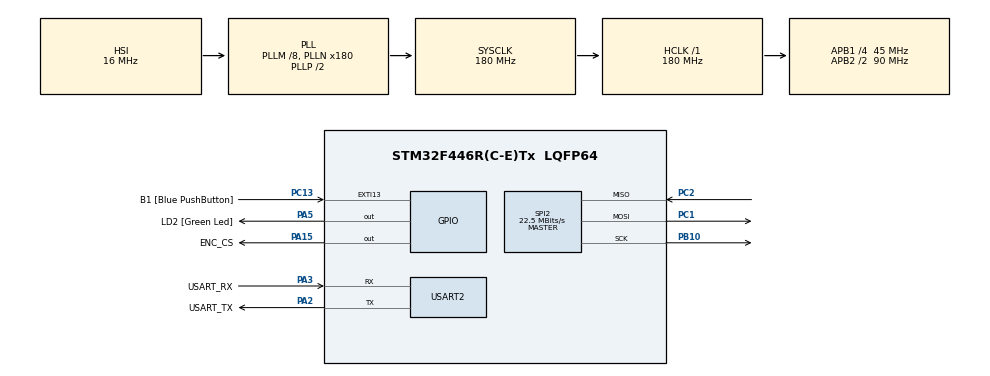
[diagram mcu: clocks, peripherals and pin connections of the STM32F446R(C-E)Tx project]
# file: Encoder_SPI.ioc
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Mcu.Family=STM32F4
Mcu.Name=STM32F446R(C-E)Tx
Mcu.Package=LQFP64
NVIC.PriorityGroup=NVIC_PRIORITYGROUP_0
PA13.GPIO_Label=TMS
PA13.Mode=Serial_Wire
PA13.Signal=SYS_JTMS-SWDIO
PA14.GPIO_Label=TCK
PA14.Mode=Serial_Wire
PA14.Signal=SYS_JTCK-SWCLK
PA15.GPIO_Label=ENC_CS
PA15.Signal=GPIO_Output
PA2.GPIO_Label=USART_TX
PA2.Mode=Asynchronous
PA2.Signal=USART2_TX
PA3.GPIO_Label=USART_RX
PA3.Mode=Asynchronous
PA3.Signal=USART2_RX
PA5.GPIO_Label=LD2 [Green Led]
PA5.Signal=GPIO_Output
PB10.Mode=Full_Duplex_Master
PB10.Signal=SPI2_SCK
PB3.GPIO_Label=SWO
PB3.Signal=SYS_JTDO-SWO
PC1.Mode=Full_Duplex_Master
PC1.Signal=SPI2_MOSI
PC13.GPIO_Label=B1 [Blue PushButton]
PC13.GPIO_ModeDefaultEXTI=GPIO_MODE_IT_FALLING
PC13.Signal=GPXTI13
PC14-OSC32_IN.Mode=LSE-External-Oscillator
PC14-OSC32_IN.Signal=RCC_OSC32_IN
PC15-OSC32_OUT.Mode=LSE-External-Oscillator
PC15-OSC32_OUT.Signal=RCC_OSC32_OUT
PC2.Mode=Full_Duplex_Master
PC2.Signal=SPI2_MISO
PH0-OSC_IN.Mode=HSE-External-Oscillator
PH0-OSC_IN.Signal=RCC_OSC_IN
PH1-OSC_OUT.Mode=HSE-External-Oscillator
PH1-OSC_OUT.Signal=RCC_OSC_OUT
ProjectManager.HeapSize=0x200
ProjectManager.StackSize=0x400
ProjectManager.TargetToolchain=CMake
RCC.48MHZClocksFreq_Value=84000000
RCC.AHBFreq_Value=180000000
RCC.APB1CLKDivider=RCC_HCLK_DIV4
RCC.APB1Freq_Value=45000000
RCC.APB1TimFreq_Value=90000000
RCC.APB2CLKDivider=RCC_HCLK_DIV2
RCC.APB2Freq_Value=90000000
RCC.APB2TimFreq_Value=180000000
RCC.CortexFreq_Value=180000000
RCC.FLatency-AdvancedSettings=FLASH_LATENCY_5
RCC.HCLKFreq_Value=180000000
RCC.HSE_VALUE=8000000
RCC.HSI_VALUE=16000000
RCC.PLLM=8
RCC.PLLN=180
RCC.SYSCLKFreq_VALUE=180000000
RCC.SYSCLKSource=RCC_SYSCLKSOURCE_PLLCLK
RCC.USBFreq_Value=180000000
RCC.VCOOutputFreq_Value=360000000
SPI2.BaudRatePrescaler=SPI_BAUDRATEPRESCALER_2
SPI2.CLKPhase=SPI_PHASE_2EDGE
SPI2.CalculateBaudRate=22.5 MBits/s
SPI2.DataSize=SPI_DATASIZE_8BIT
SPI2.Direction=SPI_DIRECTION_2LINES
SPI2.FirstBit=SPI_FIRSTBIT_MSB
SPI2.Mode=SPI_MODE_MASTER
SPI2.VirtualType=VM_MASTER
USART2.VirtualMode=VM_ASYNC
board=NUCLEO-F446RE

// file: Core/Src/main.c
/* USER CODE BEGIN Header */
/**
  ******************************************************************************
  * @file           : main.c
  * @brief          : Main program body
  ******************************************************************************
  * @attention
  *
  * Copyright (c) 2025 STMicroelectronics.
  * All rights reserved.
  *
  * This software is licensed under terms that can be found in the LICENSE file
  * in the root directory of this software component.
  * If no LICENSE file comes with this software, it is provided AS-IS.
  *
  ******************************************************************************
  */
/* USER CODE END Header */
#include "main.h"
#include "spi.h"
#include "usart.h"
#include "gpio.h"

/* USER CODE BEGIN Includes */
#include "printing.h"
#include "math_ops.h"
/* USER CODE END Includes */

void SystemClock_Config(void);

/* USER CODE BEGIN 0 */
#define M_ZERO					0
void update_encoder(Controller *controller) {
	// read AS5048 encoder:
	// HAL_StatusTypeDef spi_status;
	// uint16_t enc_pos;
	// uint8_t result1, result2;  // Changed to uint8_t to match SPI transfer size
	// uint8_t dummy = 0xFF;      // Dummy byte for transmit

	// // Lower the CS pin to start the transmission
	// HAL_GPIO_WritePin(ENC_CS_GPIO_Port, ENC_CS_Pin, GPIO_PIN_RESET);

	// // Transmit and receive the first byte
	// spi_status = HAL_SPI_TransmitReceive(&hspi2, &dummy, &result1, 1, HAL_MAX_DELAY);
	// while (HAL_SPI_GetState(&hspi2) == HAL_SPI_STATE_BUSY);

	// // Mask the unnecessary bits and shift left to prepare for concatenation
	// result1 &= 0b00111111;

	// // Transmit and receive the second byte
	// spi_status = HAL_SPI_TransmitReceive(&hspi2, &dummy, &result2, 1, HAL_MAX_DELAY);
	// while (HAL_SPI_GetState(&hspi2) == HAL_SPI_STATE_BUSY);

	// // Concatenate the two results
	// enc_pos = (result1 << 8) | result2;
	// enc_pos &= 0x3FFF;
	// // Raise the CS pin to end the transmission
	// HAL_GPIO_WritePin(ENC_CS_GPIO_Port, ENC_CS_Pin, GPIO_PIN_SET);
// Read AS5048 encoder:
    HAL_StatusTypeDef spi_status;
    uint16_t enc_pos;
    uint8_t tx_data[2] = {0xFF, 0xFF}; // Dummy bytes for transmit
    uint8_t rx_data[2] = {0};         // Buffer for received data

    // Lower the CS pin to start the transmission
    HAL_GPIO_WritePin(ENC_CS_GPIO_Port, ENC_CS_Pin, GPIO_PIN_RESET);

    // Transmit and receive 16 bits (2 bytes) in one transaction
    spi_status = HAL_SPI_TransmitReceive(&hspi2, tx_data, rx_data, 2, HAL_MAX_DELAY);
    while (HAL_SPI_GetState(&hspi2) == HAL_SPI_STATE_BUSY);

    // Raise the CS pin to end the transmission
    HAL_GPIO_WritePin(ENC_CS_GPIO_Port, ENC_CS_Pin, GPIO_PIN_SET);

    // Combine the two received bytes into a 16-bit value
    enc_pos = (rx_data[0] << 8) | rx_data[1];

    // Check for errors (optional)
    if (enc_pos & 0x4000) { // Check error flag (bit 14)
        // Handle error (e.g., magnet misalignment)
        // You can log the error or take corrective action
    }

    // Extract the 14-bit angle (bits [13:0])
    enc_pos &= 0x3FFF; // Mask out bits [15:14]

    // Now `enc_pos` contains the 14-bit angular position (0 to 16383)

    controller->raw_encoder = enc_pos;
    controller->encoder_status = 0;
    controller->q_prev = controller->q_single;
    controller->q_single = (enc_pos - M_ZERO)/16384.0 * 2.0 * PI_F;
    controller->q_single = controller->q_single<-PI_F ? controller->q_single + TWO_PI_F : controller->q_single;
    controller->q_single = controller->q_single>PI_F  ? controller->q_single - TWO_PI_F : controller->q_single;

	/* Rollover */
	int rollover = 0;
	float angle_diff = controller->q_single - controller->q_prev;
	if(angle_diff > PI_F){rollover = -1;}
	else if(angle_diff < -PI_F){rollover = 1;}
	if(!controller->first_sample){
		controller->turns = 0;
		controller->first_sample = 1;
	} else {
		controller->turns += rollover;
	}

	/* Multi-turn position */
    controller->q = controller->q_single + TWO_PI_F*(float)controller->turns;

    float qd_raw = (controller->q_single - controller->q_prev)/DT;

	float sum = qd_raw;
	for (int i = 1; i < N_POS_SAMPLES; i++){
		controller->qd_vec[N_POS_SAMPLES - i] = controller->qd_vec[N_POS_SAMPLES-i-1];
		sum += controller->qd_vec[N_POS_SAMPLES-i];
		}
	controller->qd_vec[0] = qd_raw;
	controller->qd =  sum/((float)N_POS_SAMPLES);
}

/* USER CODE END 0 */

int main(void)
{

  /* USER CODE BEGIN 1 */
  Controller controller;
  /* USER CODE END 1 */

  /* MCU Configuration--------------------------------------------------------*/

  /* Reset of all peripherals, Initializes the Flash interface and the Systick. */
  HAL_Init();

  /* Configure the system clock */
  SystemClock_Config();

  /* Initialize all configured peripherals */
  MX_GPIO_Init();
  MX_SPI2_Init();
  MX_USART2_UART_Init();

  /* Infinite loop */
  /* USER CODE BEGIN WHILE */
  while (1)
  {
    HAL_GPIO_TogglePin(LD2_GPIO_Port, LD2_Pin);
    update_encoder(&controller);
    printf(">Encoder: %d\r\n", controller.raw_encoder);
    HAL_Delay(100);
    /* USER CODE END WHILE */

  }
}

void SystemClock_Config(void)
{
  RCC_OscInitTypeDef RCC_OscInitStruct = {0};
  RCC_ClkInitTypeDef RCC_ClkInitStruct = {0};

  /** Configure the main internal regulator output voltage
  */
  __HAL_RCC_PWR_CLK_ENABLE();
  __HAL_PWR_VOLTAGESCALING_CONFIG(PWR_REGULATOR_VOLTAGE_SCALE1);

  /** Initializes the RCC Oscillators according to the specified parameters
  * in the RCC_OscInitTypeDef structure.
  */
  RCC_OscInitStruct.OscillatorType = RCC_OSCILLATORTYPE_HSI;
  RCC_OscInitStruct.HSIState = RCC_HSI_ON;
  RCC_OscInitStruct.HSICalibrationValue = RCC_HSICALIBRATION_DEFAULT;
  RCC_OscInitStruct.PLL.PLLState = RCC_PLL_ON;
  RCC_OscInitStruct.PLL.PLLSource = RCC_PLLSOURCE_HSI;
  RCC_OscInitStruct.PLL.PLLM = 8;
  RCC_OscInitStruct.PLL.PLLN = 180;
  RCC_OscInitStruct.PLL.PLLP = RCC_PLLP_DIV2;
  RCC_OscInitStruct.PLL.PLLQ = 2;
  RCC_OscInitStruct.PLL.PLLR = 2;
  if (HAL_RCC_OscConfig(&RCC_OscInitStruct) != HAL_OK)
  {
    Error_Handler();
  }

  /** Activate the Over-Drive mode
  */
  if (HAL_PWREx_EnableOverDrive() != HAL_OK)
  {
    Error_Handler();
  }

  /** Initializes the CPU, AHB and APB buses clocks
  */
  RCC_ClkInitStruct.ClockType = RCC_CLOCKTYPE_HCLK|RCC_CLOCKTYPE_SYSCLK
                              |RCC_CLOCKTYPE_PCLK1|RCC_CLOCKTYPE_PCLK2;
  RCC_ClkInitStruct.SYSCLKSource = RCC_SYSCLKSOURCE_PLLCLK;
  RCC_ClkInitStruct.AHBCLKDivider = RCC_SYSCLK_DIV1;
  RCC_ClkInitStruct.APB1CLKDivider = RCC_HCLK_DIV4;
  RCC_ClkInitStruct.APB2CLKDivider = RCC_HCLK_DIV2;

  if (HAL_RCC_ClockConfig(&RCC_ClkInitStruct, FLASH_LATENCY_5) != HAL_OK)
  {
    Error_Handler();
  }
}

void Error_Handler(void)
{
  __disable_irq();
  while (1)
  {
  }
}
